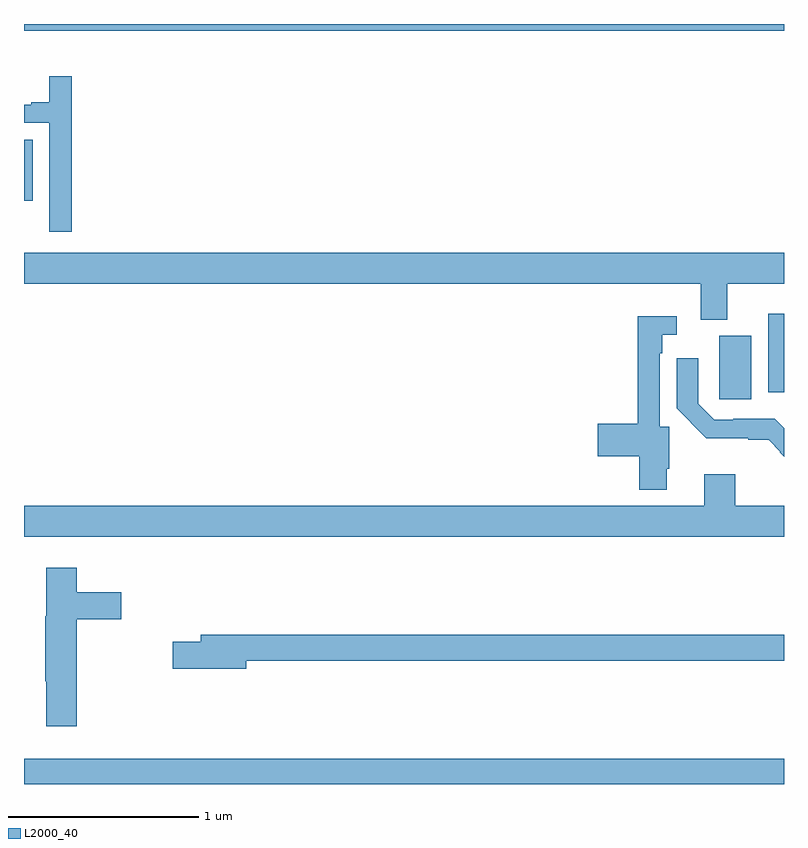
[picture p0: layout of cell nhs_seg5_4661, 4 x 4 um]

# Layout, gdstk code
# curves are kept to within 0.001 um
import gdstk
lib = gdstk.Library(unit=1e-6, precision=1e-09)
def R(c, l, rs):  # rectangles x0, y0, x1, y1
    for r in rs: c.add(gdstk.rectangle(r[:2], r[2:], *l))
def P(c, l, *ps):  # polygons
    for p in ps: c.add(gdstk.Polygon(p, *l))
L2000_40 = (2000, 40)

nhs_seg5_4661 = lib.new_cell('nhs_seg5_4661')
R(nhs_seg5_4661, L2000_40, [(385,848.799,389,848.932), (388.658,850.824,388.828,851.158), (388.916,850.86,389,851.275), (385,851.87,385.045,852.19), (385,852.764,389,852.799)])
P(nhs_seg5_4661, L2000_40, [(385.25,852.523),(385.133,852.523),(385.133,852.388),(385.037,852.388),(385.037,852.375),(385,852.375),(385,852.279),(385.134,852.279),(385.134,851.706),(385.25,851.706)],
  [(388.702,851.432),(389,851.432),(389,851.596),(385,851.596),(385,851.432),(388.562,851.432),(388.562,851.243),(388.702,851.243)],
  [(388.384,850.459),(388.397,850.459),(388.397,850.68),(388.347,850.68),(388.347,851.066),(388.359,851.066),(388.359,851.163),(388.435,851.163),(388.435,851.26),(388.231,851.26),(388.231,850.694),(388.02,850.694),(388.02,850.523),(388.238,850.523),(388.238,850.349),(388.384,850.349)],
  [(389,850.672),(388.951,850.721),(388.732,850.721),(388.732,850.716),(388.632,850.716),(388.548,850.8),(388.548,851.041),(388.436,851.041),(388.436,850.776),(388.591,850.619),(388.811,850.619),(388.811,850.611),(388.919,850.611),(388.981,850.549),(388.977,850.545),(389,850.522)],
  [(389,850.264),(388.744,850.264),(388.744,850.429),(388.58,850.429),(388.58,850.264),(385,850.264),(385,850.1),(389,850.1)],
  [(385.277,849.665),(385.513,849.665),(385.513,849.807),(385.277,849.807),(385.277,849.937),(385.118,849.937),(385.118,849.681),(385.111,849.681),(385.111,849.34),(385.118,849.34),(385.118,849.102),(385.277,849.102)],
  [(386.17,849.448),(389,849.448),(389,849.584),(385.931,849.584),(385.931,849.548),(385.782,849.548),(385.782,849.406),(386.17,849.406)])

lib.write_gds('nhs_seg5_4661.gds')
